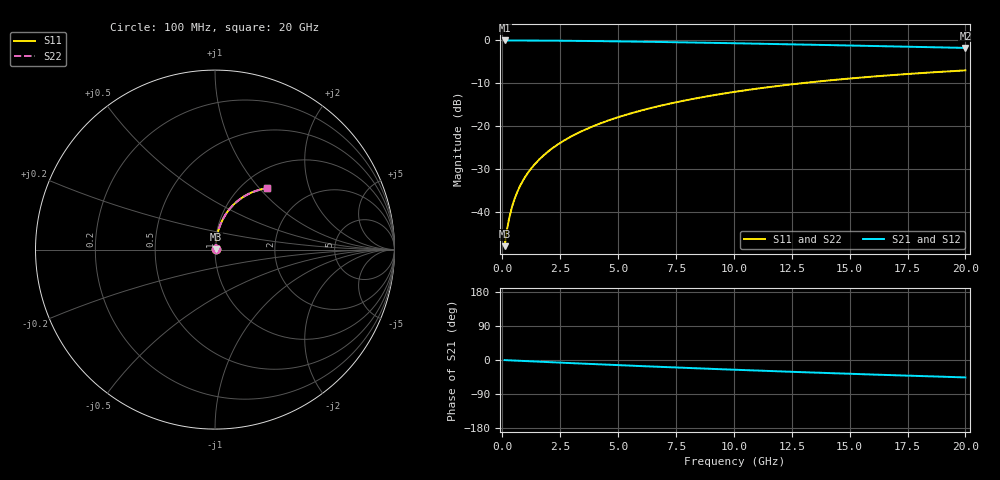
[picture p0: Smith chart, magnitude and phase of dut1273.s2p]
! Touchstone file exported from HFSS 2024.1.0
!  File:  C:/UserFiles/LocalFiles/RDL_TSV_Batchsim/temp_RDL_top_1273_1780242255.aedt
!  Generated:  11:46:20 PM May 31, 2026
!  Design:  RDL_top
!  Project:  temp_RDL_top_1273_1780242255
!  Setup:  Setup1
!  Solution:  Sweep
! Variables:
!  dtsv = 10.80580581um
!  hbump = 3um
!  htsv = 64.35um
!  ldown = 100um
!  lrdl = 644.56um
!  p = 40
!  p1 = 50.78um
!  rhole = 1um
!  t = 450um
!  tdown = 3.915915916um
!  trdl = 4.88um
!  wdown = 15.38538539um
!  wrdl = 16.53um
# GHz S MA R 50.000000
! Terminal data exported
! Port[1] = Box2_T1
! Port[2] = Box2_T2
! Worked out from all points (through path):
!   200 points, 100 MHz to 20 GHz, reference 50 ohm
!   highest |S21| = -0.03 dB at 100 MHz (marker M1); lowest = -1.8 dB at 20 GHz (marker M2)
!   group delay of S21, straight-line fit = 6.36 ps
!   lowest |S11| = -48.0 dB at 100 MHz (marker M3), VSWR 1.01, Z = 50.3 + j0.271 ohm
!   |S11| at or under -10 dB: start of sweep to 12.93 GHz
!   |S22| runs from -48.0 to -7.0 dB; largest |S21 - S12| = 3.5e-15
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0.1  0.003984 42.5  0.9971 -0.3  0.9971 -0.3  0.003984 42.5
! Gamma 0 0 0 0
! Port Impedance 50 0 50 0
0.2  0.006141 60.0  0.9969 -0.6  0.9969 -0.6  0.006141 60.0
0.3  0.008515 67.8  0.9968 -0.9  0.9968 -0.9  0.008515 67.8
0.4  0.01094 72.1  0.9966 -1.1  0.9966 -1.1  0.01094 72.1
0.5  0.01339 74.9  0.9964 -1.4  0.9964 -1.4  0.01339 74.9
0.6  0.01586 76.8  0.9963 -1.7  0.9963 -1.7  0.01586 76.8
0.8  0.02083 79.2  0.9959 -2.3  0.9959 -2.3  0.02083 79.2
1.1  0.02835 81.0  0.9953 -3.1  0.9953 -3.1  0.02835 81.0
1.5  0.03843 82.0  0.9941 -4.2  0.9941 -4.2  0.03843 82.0
1.8  0.04601 82.3  0.9931 -5.0  0.9931 -5.0  0.04601 82.3
2.1  0.05359 82.3  0.9919 -5.8  0.9919 -5.8  0.05359 82.3
2.7  0.06877 82.0  0.989 -7.5  0.989 -7.5  0.06876 81.9
3.5  0.08899 81.1  0.9843 -9.6  0.9843 -9.6  0.08898 81.1
4.2  0.1067 80.1  0.9794 -11.5  0.9794 -11.5  0.1067 80.1
5  0.1269 78.9  0.9733 -13.6  0.9733 -13.6  0.1268 78.8
5.9  0.1495 77.4  0.9657 -15.8  0.9657 -15.8  0.1495 77.3
6.8  0.1721 75.7  0.9576 -18.1  0.9576 -18.1  0.172 75.7
8.4  0.2117 72.6  0.942 -21.9  0.942 -21.9  0.2116 72.6
10.1  0.2525 69.2  0.9244 -25.9  0.9244 -25.9  0.2524 69.2
13.4  0.3263 62.5  0.8885 -33.1  0.8885 -33.1  0.3261 62.4
16.7  0.3911 56.0  0.8519 -39.8  0.8519 -39.8  0.3908 55.9
20  0.4463 49.9  0.8161 -46.0  0.8161 -46.0  0.446 49.8
